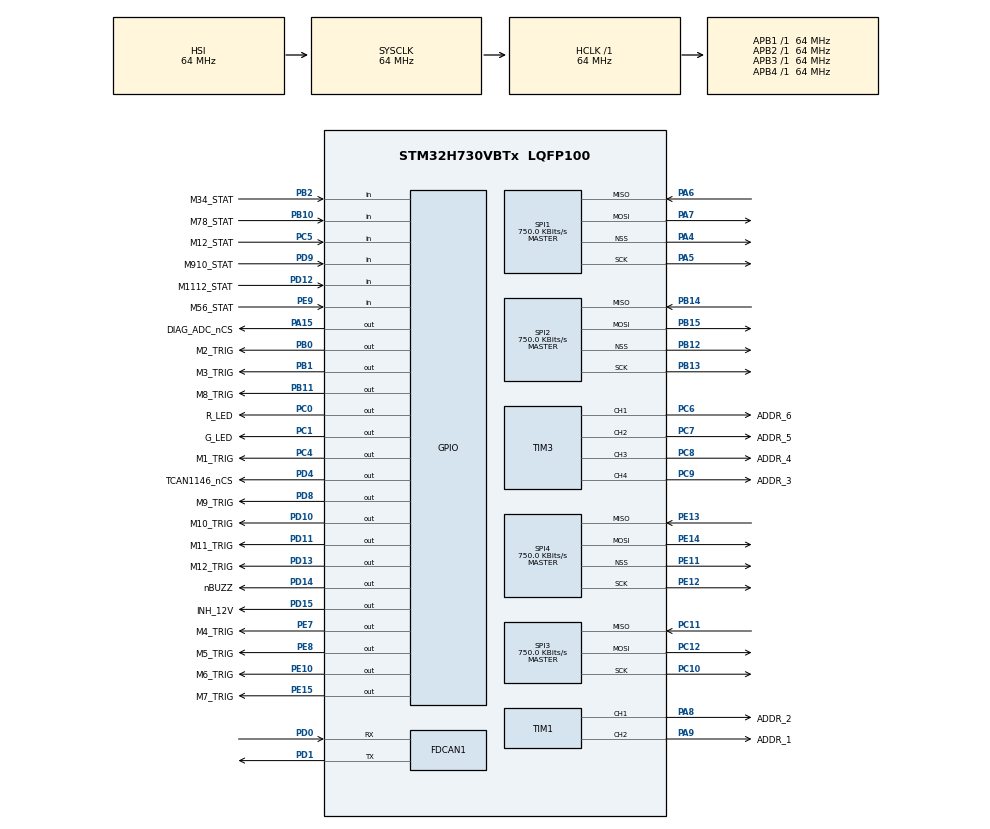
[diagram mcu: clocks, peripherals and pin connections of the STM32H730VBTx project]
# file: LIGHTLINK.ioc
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CORTEX_M7.default_mode_Activation=1
FDCAN1.CalculateBaudRateNominal=18750
FDCAN1.CalculateTimeBitNominal=53333
FDCAN1.CalculateTimeQuantumNominal=10666.666666666666
Mcu.Family=STM32H7
Mcu.Name=STM32H730VBTx
Mcu.Package=LQFP100
NVIC.PriorityGroup=NVIC_PRIORITYGROUP_4
PA13(JTMS/SWDIO).Mode=Serial_Wire
PA13(JTMS/SWDIO).Signal=DEBUG_JTMS-SWDIO
PA14(JTCK/SWCLK).Mode=Serial_Wire
PA14(JTCK/SWCLK).Signal=DEBUG_JTCK-SWCLK
PA15(JTDI).GPIO_Label=DIAG_ADC_nCS
PA15(JTDI).Signal=GPIO_Output
PA4.Mode=NSS_Signal_Hard_Output
PA4.Signal=SPI1_NSS
PA5.Mode=Full_Duplex_Master
PA5.Signal=SPI1_SCK
PA6.Mode=Full_Duplex_Master
PA6.Signal=SPI1_MISO
PA7.Mode=Full_Duplex_Master
PA7.Signal=SPI1_MOSI
PA8.GPIO_Label=ADDR_2
PA8.Signal=S_TIM1_CH1
PA9.GPIO_Label=ADDR_1
PA9.Signal=S_TIM1_CH2
PB0.GPIO_Label=M2_TRIG
PB0.Signal=GPIO_Output
PB1.GPIO_Label=M3_TRIG
PB1.Signal=GPIO_Output
PB10.GPIO_Label=M78_STAT
PB10.Signal=GPIO_Input
PB11.GPIO_Label=M8_TRIG
PB11.Signal=GPIO_Output
PB12.Mode=NSS_Signal_Hard_Output
PB12.Signal=SPI2_NSS
PB13.Mode=Full_Duplex_Master
PB13.Signal=SPI2_SCK
PB14.Mode=Full_Duplex_Master
PB14.Signal=SPI2_MISO
PB15.Mode=Full_Duplex_Master
PB15.Signal=SPI2_MOSI
PB2.GPIO_Label=M34_STAT
PB2.Signal=GPIO_Input
PC0.GPIO_Label=R_LED
PC0.GPIO_ModeDefaultOutputPP=GPIO_MODE_OUTPUT_OD
PC0.GPIO_PuPd=GPIO_NOPULL
PC0.Signal=GPIO_Output
PC1.GPIO_Label=G_LED
PC1.GPIO_ModeDefaultOutputPP=GPIO_MODE_OUTPUT_OD
PC1.GPIO_PuPd=GPIO_NOPULL
PC1.Signal=GPIO_Output
PC10.Mode=Full_Duplex_Master
PC10.Signal=SPI3_SCK
PC11.Mode=Full_Duplex_Master
PC11.Signal=SPI3_MISO
PC12.Mode=Full_Duplex_Master
PC12.Signal=SPI3_MOSI
PC14-OSC32_IN.Mode=LSE-External-Oscillator
PC14-OSC32_IN.Signal=RCC_OSC32_IN
PC15-OSC32_OUT.Mode=LSE-External-Oscillator
PC15-OSC32_OUT.Signal=RCC_OSC32_OUT
PC4.GPIO_Label=M1_TRIG
PC4.Signal=GPIO_Output
PC5.GPIO_Label=M12_STAT
PC5.Signal=GPIO_Input
PC6.GPIO_Label=ADDR_6
PC6.Signal=S_TIM3_CH1
PC7.GPIO_Label=ADDR_5
PC7.Signal=S_TIM3_CH2
PC8.GPIO_Label=ADDR_4
PC8.Signal=S_TIM3_CH3
PC9.GPIO_Label=ADDR_3
PC9.Signal=S_TIM3_CH4
PD0.Mode=FDCAN_Activate
PD0.Signal=FDCAN1_RX
PD1.Mode=FDCAN_Activate
PD1.Signal=FDCAN1_TX
PD10.GPIO_Label=M10_TRIG
PD10.Signal=GPIO_Output
PD11.GPIO_Label=M11_TRIG
PD11.Signal=GPIO_Output
PD12.GPIO_Label=M1112_STAT
PD12.Signal=GPIO_Input
PD13.GPIO_Label=M12_TRIG
PD13.Signal=GPIO_Output
PD14.GPIO_Label=nBUZZ
PD14.Signal=GPIO_Output
PD15.GPIO_Label=INH_12V
PD15.Signal=GPIO_Output
PD4.GPIO_Label=TCAN1146_nCS
PD4.Signal=GPIO_Output
PD8.GPIO_Label=M9_TRIG
PD8.Signal=GPIO_Output
PD9.GPIO_Label=M910_STAT
PD9.Signal=GPIO_Input
PE10.GPIO_Label=M6_TRIG
PE10.Signal=GPIO_Output
PE11.Mode=NSS_Signal_Hard_Output
PE11.Signal=SPI4_NSS
PE12.Mode=Full_Duplex_Master
PE12.Signal=SPI4_SCK
PE13.Mode=Full_Duplex_Master
PE13.Signal=SPI4_MISO
PE14.Mode=Full_Duplex_Master
PE14.Signal=SPI4_MOSI
PE15.GPIO_Label=M7_TRIG
PE15.Signal=GPIO_Output
PE7.GPIO_Label=M4_TRIG
PE7.Signal=GPIO_Output
PE8.GPIO_Label=M5_TRIG
PE8.Signal=GPIO_Output
PE9.GPIO_Label=M56_STAT
PE9.Signal=GPIO_Input
PH0-OSC_IN.Mode=HSE-External-Oscillator
PH0-OSC_IN.Signal=RCC_OSC_IN
PH1-OSC_OUT.Mode=HSE-External-Oscillator
PH1-OSC_OUT.Signal=RCC_OSC_OUT
ProjectManager.HeapSize=0x200
ProjectManager.StackSize=0x400
ProjectManager.TargetToolchain=STM32CubeIDE
RCC.ADCFreq_Value=75000000
RCC.APB1Freq_Value=64000000
RCC.APB2Freq_Value=64000000
RCC.APB3Freq_Value=64000000
RCC.APB4Freq_Value=64000000
RCC.CortexFreq_Value=64000000
RCC.DIVM1=48
RCC.DIVM2=48
RCC.DIVN1=150
RCC.DIVN2=150
RCC.DIVQ1=100
RCC.DIVQ2=100
RCC.HCLKFreq_Value=64000000
RCC.HSE_VALUE=48000000
RCC.PLLSourceVirtual=RCC_PLLSOURCE_HSE
RCC.SYSCLKFreq_VALUE=64000000
RCC.Spi45ClockSelection=RCC_SPI45CLKSOURCE_PLL2
RCC.USBFreq_Value=1500000
SH.S_TIM1_CH1.0=TIM1_CH1,PWM Generation1 CH1
SH.S_TIM1_CH2.0=TIM1_CH2,PWM Generation2 CH2
SH.S_TIM3_CH1.0=TIM3_CH1,PWM Generation1 CH1
SH.S_TIM3_CH2.0=TIM3_CH2,PWM Generation2 CH2
SH.S_TIM3_CH3.0=TIM3_CH3,PWM Generation3 CH3
SH.S_TIM3_CH4.0=TIM3_CH4,PWM Generation4 CH4
SPI1.CalculateBaudRate=750.0 KBits/s
SPI1.Direction=SPI_DIRECTION_2LINES
SPI1.Mode=SPI_MODE_MASTER
SPI1.VirtualNSS=VM_NSSHARD
SPI1.VirtualType=VM_MASTER
SPI2.CalculateBaudRate=750.0 KBits/s
SPI2.Direction=SPI_DIRECTION_2LINES
SPI2.Mode=SPI_MODE_MASTER
SPI2.VirtualNSS=VM_NSSHARD
SPI2.VirtualType=VM_MASTER
SPI3.CalculateBaudRate=750.0 KBits/s
SPI3.Direction=SPI_DIRECTION_2LINES
SPI3.Mode=SPI_MODE_MASTER
SPI3.VirtualType=VM_MASTER
SPI4.CalculateBaudRate=750.0 KBits/s
SPI4.Direction=SPI_DIRECTION_2LINES
SPI4.Mode=SPI_MODE_MASTER
SPI4.VirtualNSS=VM_NSSHARD
SPI4.VirtualType=VM_MASTER
TIM1.Channel-PWM\ Generation1\ CH1=TIM_CHANNEL_1
TIM1.Channel-PWM\ Generation2\ CH2=TIM_CHANNEL_2
TIM3.Channel-PWM\ Generation1\ CH1=TIM_CHANNEL_1
TIM3.Channel-PWM\ Generation2\ CH2=TIM_CHANNEL_2
TIM3.Channel-PWM\ Generation3\ CH3=TIM_CHANNEL_3
TIM3.Channel-PWM\ Generation4\ CH4=TIM_CHANNEL_4
board=custom

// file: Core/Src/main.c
/* USER CODE BEGIN Header */
/**
  ******************************************************************************
  * @file           : main.c
  * @brief          : Main program body
  ******************************************************************************
  * @attention
  *
  * Copyright (c) 2024 STMicroelectronics.
  * All rights reserved.
  *
  * This software is licensed under terms that can be found in the LICENSE file
  * in the root directory of this software component.
  * If no LICENSE file comes with this software, it is provided AS-IS.
  *
  ******************************************************************************
  */
/* USER CODE END Header */
#include "main.h"

FDCAN_HandleTypeDef hfdcan1;

SPI_HandleTypeDef hspi1;
SPI_HandleTypeDef hspi2;
SPI_HandleTypeDef hspi3;
SPI_HandleTypeDef hspi4;

TIM_HandleTypeDef htim1;
TIM_HandleTypeDef htim3;

void SystemClock_Config(void);
static void MPU_Config(void);
static void MX_GPIO_Init(void);
static void MX_FDCAN1_Init(void);
static void MX_SPI1_Init(void);
static void MX_SPI2_Init(void);
static void MX_SPI3_Init(void);
static void MX_SPI4_Init(void);
static void MX_TIM1_Init(void);
static void MX_TIM3_Init(void);

int main(void)
{

  /* MPU Configuration--------------------------------------------------------*/
  MPU_Config();

  /* MCU Configuration--------------------------------------------------------*/

  /* Reset of all peripherals, Initializes the Flash interface and the Systick. */
  HAL_Init();

  /* Configure the system clock */
  SystemClock_Config();

  /* Initialize all configured peripherals */
  MX_GPIO_Init();
  MX_FDCAN1_Init();
  MX_SPI1_Init();
  MX_SPI2_Init();
  MX_SPI3_Init();
  MX_SPI4_Init();
  MX_TIM1_Init();
  MX_TIM3_Init();
  /* USER CODE BEGIN 2 */

  //TURN ON GREEN LED ONCE USER CODE BEGINS
  HAL_GPIO_WritePin (GPIOC, G_LED_Pin, GPIO_PIN_SET);
  HAL_GPIO_WritePin (GPIOC, nBUZZ_Pin, GPIO_PIN_SET);

  /* USER CODE END 2 */

  /* Infinite loop */
  while (1)
  {

    /* USER CODE BEGIN 3 */
	  HAL_GPIO_TogglePin (GPIOC, M1_TRIG_Pin);
	  HAL_GPIO_TogglePin (GPIOB, M2_TRIG_Pin);
	  HAL_GPIO_TogglePin (GPIOB, M3_TRIG_Pin);
	  HAL_GPIO_TogglePin (GPIOE, M4_TRIG_Pin);
	  HAL_GPIO_TogglePin (GPIOE, M5_TRIG_Pin);
	  HAL_GPIO_TogglePin (GPIOE, M6_TRIG_Pin);
	  HAL_GPIO_TogglePin (GPIOE, M7_TRIG_Pin);
	  HAL_GPIO_TogglePin (GPIOB, M8_TRIG_Pin);
	  HAL_GPIO_TogglePin (GPIOD, M9_TRIG_Pin);
	  HAL_GPIO_TogglePin (GPIOD, M10_TRIG_Pin);
	  HAL_GPIO_TogglePin (GPIOD, M11_TRIG_Pin);
	  HAL_GPIO_TogglePin (GPIOD, M12_TRIG_Pin);
	  HAL_Delay (500);   /* Insert delay 100 ms */
  }
  /* USER CODE END 3 */
}

void SystemClock_Config(void)
{
  RCC_OscInitTypeDef RCC_OscInitStruct = {0};
  RCC_ClkInitTypeDef RCC_ClkInitStruct = {0};

  /** Supply configuration update enable
  */
  HAL_PWREx_ConfigSupply(PWR_LDO_SUPPLY);

  /** Configure the main internal regulator output voltage
  */
  __HAL_PWR_VOLTAGESCALING_CONFIG(PWR_REGULATOR_VOLTAGE_SCALE3);

  while(!__HAL_PWR_GET_FLAG(PWR_FLAG_VOSRDY)) {}

  /** Initializes the RCC Oscillators according to the specified parameters
  * in the RCC_OscInitTypeDef structure.
  */
  RCC_OscInitStruct.OscillatorType = RCC_OSCILLATORTYPE_HSI|RCC_OSCILLATORTYPE_HSE;
  RCC_OscInitStruct.HSEState = RCC_HSE_ON;
  RCC_OscInitStruct.HSIState = RCC_HSI_DIV1;
  RCC_OscInitStruct.HSICalibrationValue = 64;
  RCC_OscInitStruct.PLL.PLLState = RCC_PLL_ON;
  RCC_OscInitStruct.PLL.PLLSource = RCC_PLLSOURCE_HSE;
  RCC_OscInitStruct.PLL.PLLM = 48;
  RCC_OscInitStruct.PLL.PLLN = 150;
  RCC_OscInitStruct.PLL.PLLP = 2;
  RCC_OscInitStruct.PLL.PLLQ = 100;
  RCC_OscInitStruct.PLL.PLLR = 2;
  RCC_OscInitStruct.PLL.PLLRGE = RCC_PLL1VCIRANGE_0;
  RCC_OscInitStruct.PLL.PLLVCOSEL = RCC_PLL1VCOMEDIUM;
  RCC_OscInitStruct.PLL.PLLFRACN = 0;
  if (HAL_RCC_OscConfig(&RCC_OscInitStruct) != HAL_OK)
  {
    Error_Handler();
  }

  /** Initializes the CPU, AHB and APB buses clocks
  */
  RCC_ClkInitStruct.ClockType = RCC_CLOCKTYPE_HCLK|RCC_CLOCKTYPE_SYSCLK
                              |RCC_CLOCKTYPE_PCLK1|RCC_CLOCKTYPE_PCLK2
                              |RCC_CLOCKTYPE_D3PCLK1|RCC_CLOCKTYPE_D1PCLK1;
  RCC_ClkInitStruct.SYSCLKSource = RCC_SYSCLKSOURCE_HSI;
  RCC_ClkInitStruct.SYSCLKDivider = RCC_SYSCLK_DIV1;
  RCC_ClkInitStruct.AHBCLKDivider = RCC_HCLK_DIV1;
  RCC_ClkInitStruct.APB3CLKDivider = RCC_APB3_DIV1;
  RCC_ClkInitStruct.APB1CLKDivider = RCC_APB1_DIV1;
  RCC_ClkInitStruct.APB2CLKDivider = RCC_APB2_DIV1;
  RCC_ClkInitStruct.APB4CLKDivider = RCC_APB4_DIV1;

  if (HAL_RCC_ClockConfig(&RCC_ClkInitStruct, FLASH_LATENCY_1) != HAL_OK)
  {
    Error_Handler();
  }
}

static void MX_FDCAN1_Init(void)
{

  hfdcan1.Instance = FDCAN1;
  hfdcan1.Init.FrameFormat = FDCAN_FRAME_CLASSIC;
  hfdcan1.Init.Mode = FDCAN_MODE_NORMAL;
  hfdcan1.Init.AutoRetransmission = DISABLE;
  hfdcan1.Init.TransmitPause = DISABLE;
  hfdcan1.Init.ProtocolException = DISABLE;
  hfdcan1.Init.NominalPrescaler = 16;
  hfdcan1.Init.NominalSyncJumpWidth = 1;
  hfdcan1.Init.NominalTimeSeg1 = 2;
  hfdcan1.Init.NominalTimeSeg2 = 2;
  hfdcan1.Init.DataPrescaler = 1;
  hfdcan1.Init.DataSyncJumpWidth = 1;
  hfdcan1.Init.DataTimeSeg1 = 1;
  hfdcan1.Init.DataTimeSeg2 = 1;
  hfdcan1.Init.MessageRAMOffset = 0;
  hfdcan1.Init.StdFiltersNbr = 0;
  hfdcan1.Init.ExtFiltersNbr = 0;
  hfdcan1.Init.RxFifo0ElmtsNbr = 0;
  hfdcan1.Init.RxFifo0ElmtSize = FDCAN_DATA_BYTES_8;
  hfdcan1.Init.RxFifo1ElmtsNbr = 0;
  hfdcan1.Init.RxFifo1ElmtSize = FDCAN_DATA_BYTES_8;
  hfdcan1.Init.RxBuffersNbr = 0;
  hfdcan1.Init.RxBufferSize = FDCAN_DATA_BYTES_8;
  hfdcan1.Init.TxEventsNbr = 0;
  hfdcan1.Init.TxBuffersNbr = 0;
  hfdcan1.Init.TxFifoQueueElmtsNbr = 0;
  hfdcan1.Init.TxFifoQueueMode = FDCAN_TX_FIFO_OPERATION;
  hfdcan1.Init.TxElmtSize = FDCAN_DATA_BYTES_8;
  if (HAL_FDCAN_Init(&hfdcan1) != HAL_OK)
  {
    Error_Handler();
  }

}

static void MX_SPI1_Init(void)
{

  /* SPI1 parameter configuration*/
  hspi1.Instance = SPI1;
  hspi1.Init.Mode = SPI_MODE_MASTER;
  hspi1.Init.Direction = SPI_DIRECTION_2LINES;
  hspi1.Init.DataSize = SPI_DATASIZE_4BIT;
  hspi1.Init.CLKPolarity = SPI_POLARITY_LOW;
  hspi1.Init.CLKPhase = SPI_PHASE_1EDGE;
  hspi1.Init.NSS = SPI_NSS_HARD_OUTPUT;
  hspi1.Init.BaudRatePrescaler = SPI_BAUDRATEPRESCALER_2;
  hspi1.Init.FirstBit = SPI_FIRSTBIT_MSB;
  hspi1.Init.TIMode = SPI_TIMODE_DISABLE;
  hspi1.Init.CRCCalculation = SPI_CRCCALCULATION_DISABLE;
  hspi1.Init.CRCPolynomial = 0x0;
  hspi1.Init.NSSPMode = SPI_NSS_PULSE_ENABLE;
  hspi1.Init.NSSPolarity = SPI_NSS_POLARITY_LOW;
  hspi1.Init.FifoThreshold = SPI_FIFO_THRESHOLD_01DATA;
  hspi1.Init.TxCRCInitializationPattern = SPI_CRC_INITIALIZATION_ALL_ZERO_PATTERN;
  hspi1.Init.RxCRCInitializationPattern = SPI_CRC_INITIALIZATION_ALL_ZERO_PATTERN;
  hspi1.Init.MasterSSIdleness = SPI_MASTER_SS_IDLENESS_00CYCLE;
  hspi1.Init.MasterInterDataIdleness = SPI_MASTER_INTERDATA_IDLENESS_00CYCLE;
  hspi1.Init.MasterReceiverAutoSusp = SPI_MASTER_RX_AUTOSUSP_DISABLE;
  hspi1.Init.MasterKeepIOState = SPI_MASTER_KEEP_IO_STATE_DISABLE;
  hspi1.Init.IOSwap = SPI_IO_SWAP_DISABLE;
  if (HAL_SPI_Init(&hspi1) != HAL_OK)
  {
    Error_Handler();
  }

}

static void MX_SPI2_Init(void)
{

  /* SPI2 parameter configuration*/
  hspi2.Instance = SPI2;
  hspi2.Init.Mode = SPI_MODE_MASTER;
  hspi2.Init.Direction = SPI_DIRECTION_2LINES;
  hspi2.Init.DataSize = SPI_DATASIZE_4BIT;
  hspi2.Init.CLKPolarity = SPI_POLARITY_LOW;
  hspi2.Init.CLKPhase = SPI_PHASE_1EDGE;
  hspi2.Init.NSS = SPI_NSS_HARD_OUTPUT;
  hspi2.Init.BaudRatePrescaler = SPI_BAUDRATEPRESCALER_2;
  hspi2.Init.FirstBit = SPI_FIRSTBIT_MSB;
  hspi2.Init.TIMode = SPI_TIMODE_DISABLE;
  hspi2.Init.CRCCalculation = SPI_CRCCALCULATION_DISABLE;
  hspi2.Init.CRCPolynomial = 0x0;
  hspi2.Init.NSSPMode = SPI_NSS_PULSE_ENABLE;
  hspi2.Init.NSSPolarity = SPI_NSS_POLARITY_LOW;
  hspi2.Init.FifoThreshold = SPI_FIFO_THRESHOLD_01DATA;
  hspi2.Init.TxCRCInitializationPattern = SPI_CRC_INITIALIZATION_ALL_ZERO_PATTERN;
  hspi2.Init.RxCRCInitializationPattern = SPI_CRC_INITIALIZATION_ALL_ZERO_PATTERN;
  hspi2.Init.MasterSSIdleness = SPI_MASTER_SS_IDLENESS_00CYCLE;
  hspi2.Init.MasterInterDataIdleness = SPI_MASTER_INTERDATA_IDLENESS_00CYCLE;
  hspi2.Init.MasterReceiverAutoSusp = SPI_MASTER_RX_AUTOSUSP_DISABLE;
  hspi2.Init.MasterKeepIOState = SPI_MASTER_KEEP_IO_STATE_DISABLE;
  hspi2.Init.IOSwap = SPI_IO_SWAP_DISABLE;
  if (HAL_SPI_Init(&hspi2) != HAL_OK)
  {
    Error_Handler();
  }

}

static void MX_SPI3_Init(void)
{

  /* SPI3 parameter configuration*/
  hspi3.Instance = SPI3;
  hspi3.Init.Mode = SPI_MODE_MASTER;
  hspi3.Init.Direction = SPI_DIRECTION_2LINES;
  hspi3.Init.DataSize = SPI_DATASIZE_4BIT;
  hspi3.Init.CLKPolarity = SPI_POLARITY_LOW;
  hspi3.Init.CLKPhase = SPI_PHASE_1EDGE;
  hspi3.Init.NSS = SPI_NSS_SOFT;
  hspi3.Init.BaudRatePrescaler = SPI_BAUDRATEPRESCALER_2;
  hspi3.Init.FirstBit = SPI_FIRSTBIT_MSB;
  hspi3.Init.TIMode = SPI_TIMODE_DISABLE;
  hspi3.Init.CRCCalculation = SPI_CRCCALCULATION_DISABLE;
  hspi3.Init.CRCPolynomial = 0x0;
  hspi3.Init.NSSPMode = SPI_NSS_PULSE_ENABLE;
  hspi3.Init.NSSPolarity = SPI_NSS_POLARITY_LOW;
  hspi3.Init.FifoThreshold = SPI_FIFO_THRESHOLD_01DATA;
  hspi3.Init.TxCRCInitializationPattern = SPI_CRC_INITIALIZATION_ALL_ZERO_PATTERN;
  hspi3.Init.RxCRCInitializationPattern = SPI_CRC_INITIALIZATION_ALL_ZERO_PATTERN;
  hspi3.Init.MasterSSIdleness = SPI_MASTER_SS_IDLENESS_00CYCLE;
  hspi3.Init.MasterInterDataIdleness = SPI_MASTER_INTERDATA_IDLENESS_00CYCLE;
  hspi3.Init.MasterReceiverAutoSusp = SPI_MASTER_RX_AUTOSUSP_DISABLE;
  hspi3.Init.MasterKeepIOState = SPI_MASTER_KEEP_IO_STATE_DISABLE;
  hspi3.Init.IOSwap = SPI_IO_SWAP_DISABLE;
  if (HAL_SPI_Init(&hspi3) != HAL_OK)
  {
    Error_Handler();
  }

}

static void MX_SPI4_Init(void)
{

  /* SPI4 parameter configuration*/
  hspi4.Instance = SPI4;
  hspi4.Init.Mode = SPI_MODE_MASTER;
  hspi4.Init.Direction = SPI_DIRECTION_2LINES;
  hspi4.Init.DataSize = SPI_DATASIZE_4BIT;
  hspi4.Init.CLKPolarity = SPI_POLARITY_LOW;
  hspi4.Init.CLKPhase = SPI_PHASE_1EDGE;
  hspi4.Init.NSS = SPI_NSS_HARD_OUTPUT;
  hspi4.Init.BaudRatePrescaler = SPI_BAUDRATEPRESCALER_2;
  hspi4.Init.FirstBit = SPI_FIRSTBIT_MSB;
  hspi4.Init.TIMode = SPI_TIMODE_DISABLE;
  hspi4.Init.CRCCalculation = SPI_CRCCALCULATION_DISABLE;
  hspi4.Init.CRCPolynomial = 0x0;
  hspi4.Init.NSSPMode = SPI_NSS_PULSE_ENABLE;
  hspi4.Init.NSSPolarity = SPI_NSS_POLARITY_LOW;
  hspi4.Init.FifoThreshold = SPI_FIFO_THRESHOLD_01DATA;
  hspi4.Init.TxCRCInitializationPattern = SPI_CRC_INITIALIZATION_ALL_ZERO_PATTERN;
  hspi4.Init.RxCRCInitializationPattern = SPI_CRC_INITIALIZATION_ALL_ZERO_PATTERN;
  hspi4.Init.MasterSSIdleness = SPI_MASTER_SS_IDLENESS_00CYCLE;
  hspi4.Init.MasterInterDataIdleness = SPI_MASTER_INTERDATA_IDLENESS_00CYCLE;
  hspi4.Init.MasterReceiverAutoSusp = SPI_MASTER_RX_AUTOSUSP_DISABLE;
  hspi4.Init.MasterKeepIOState = SPI_MASTER_KEEP_IO_STATE_DISABLE;
  hspi4.Init.IOSwap = SPI_IO_SWAP_DISABLE;
  if (HAL_SPI_Init(&hspi4) != HAL_OK)
  {
    Error_Handler();
  }

}

static void MX_TIM1_Init(void)
{

  TIM_MasterConfigTypeDef sMasterConfig = {0};
  TIM_OC_InitTypeDef sConfigOC = {0};
  TIM_BreakDeadTimeConfigTypeDef sBreakDeadTimeConfig = {0};

  htim1.Instance = TIM1;
  htim1.Init.Prescaler = 0;
  htim1.Init.CounterMode = TIM_COUNTERMODE_UP;
  htim1.Init.Period = 65535;
  htim1.Init.ClockDivision = TIM_CLOCKDIVISION_DIV1;
  htim1.Init.RepetitionCounter = 0;
  htim1.Init.AutoReloadPreload = TIM_AUTORELOAD_PRELOAD_DISABLE;
  if (HAL_TIM_PWM_Init(&htim1) != HAL_OK)
  {
    Error_Handler();
  }
  sMasterConfig.MasterOutputTrigger = TIM_TRGO_RESET;
  sMasterConfig.MasterOutputTrigger2 = TIM_TRGO2_RESET;
  sMasterConfig.MasterSlaveMode = TIM_MASTERSLAVEMODE_DISABLE;
  if (HAL_TIMEx_MasterConfigSynchronization(&htim1, &sMasterConfig) != HAL_OK)
  {
    Error_Handler();
  }
  sConfigOC.OCMode = TIM_OCMODE_PWM1;
  sConfigOC.Pulse = 0;
  sConfigOC.OCPolarity = TIM_OCPOLARITY_HIGH;
  sConfigOC.OCNPolarity = TIM_OCNPOLARITY_HIGH;
  sConfigOC.OCFastMode = TIM_OCFAST_DISABLE;
  sConfigOC.OCIdleState = TIM_OCIDLESTATE_RESET;
  sConfigOC.OCNIdleState = TIM_OCNIDLESTATE_RESET;
  if (HAL_TIM_PWM_ConfigChannel(&htim1, &sConfigOC, TIM_CHANNEL_1) != HAL_OK)
  {
    Error_Handler();
  }
  if (HAL_TIM_PWM_ConfigChannel(&htim1, &sConfigOC, TIM_CHANNEL_2) != HAL_OK)
  {
    Error_Handler();
  }
  sBreakDeadTimeConfig.OffStateRunMode = TIM_OSSR_DISABLE;
  sBreakDeadTimeConfig.OffStateIDLEMode = TIM_OSSI_DISABLE;
  sBreakDeadTimeConfig.LockLevel = TIM_LOCKLEVEL_OFF;
  sBreakDeadTimeConfig.DeadTime = 0;
  sBreakDeadTimeConfig.BreakState = TIM_BREAK_DISABLE;
  sBreakDeadTimeConfig.BreakPolarity = TIM_BREAKPOLARITY_HIGH;
  sBreakDeadTimeConfig.BreakFilter = 0;
  sBreakDeadTimeConfig.Break2State = TIM_BREAK2_DISABLE;
  sBreakDeadTimeConfig.Break2Polarity = TIM_BREAK2POLARITY_HIGH;
  sBreakDeadTimeConfig.Break2Filter = 0;
  sBreakDeadTimeConfig.AutomaticOutput = TIM_AUTOMATICOUTPUT_DISABLE;
  if (HAL_TIMEx_ConfigBreakDeadTime(&htim1, &sBreakDeadTimeConfig) != HAL_OK)
  {
    Error_Handler();
  }
  HAL_TIM_MspPostInit(&htim1);

}

static void MX_TIM3_Init(void)
{

  TIM_MasterConfigTypeDef sMasterConfig = {0};
  TIM_OC_InitTypeDef sConfigOC = {0};

  htim3.Instance = TIM3;
  htim3.Init.Prescaler = 0;
  htim3.Init.CounterMode = TIM_COUNTERMODE_UP;
  htim3.Init.Period = 65535;
  htim3.Init.ClockDivision = TIM_CLOCKDIVISION_DIV1;
  htim3.Init.AutoReloadPreload = TIM_AUTORELOAD_PRELOAD_DISABLE;
  if (HAL_TIM_PWM_Init(&htim3) != HAL_OK)
  {
    Error_Handler();
  }
  sMasterConfig.MasterOutputTrigger = TIM_TRGO_RESET;
  sMasterConfig.MasterSlaveMode = TIM_MASTERSLAVEMODE_DISABLE;
  if (HAL_TIMEx_MasterConfigSynchronization(&htim3, &sMasterConfig) != HAL_OK)
  {
    Error_Handler();
  }
  sConfigOC.OCMode = TIM_OCMODE_PWM1;
  sConfigOC.Pulse = 0;
  sConfigOC.OCPolarity = TIM_OCPOLARITY_HIGH;
  sConfigOC.OCFastMode = TIM_OCFAST_DISABLE;
  if (HAL_TIM_PWM_ConfigChannel(&htim3, &sConfigOC, TIM_CHANNEL_1) != HAL_OK)
  {
    Error_Handler();
  }
  if (HAL_TIM_PWM_ConfigChannel(&htim3, &sConfigOC, TIM_CHANNEL_2) != HAL_OK)
  {
    Error_Handler();
  }
  if (HAL_TIM_PWM_ConfigChannel(&htim3, &sConfigOC, TIM_CHANNEL_3) != HAL_OK)
  {
    Error_Handler();
  }
  if (HAL_TIM_PWM_ConfigChannel(&htim3, &sConfigOC, TIM_CHANNEL_4) != HAL_OK)
  {
    Error_Handler();
  }
  HAL_TIM_MspPostInit(&htim3);

}

static void MX_GPIO_Init(void)
{
  GPIO_InitTypeDef GPIO_InitStruct = {0};

  /* GPIO Ports Clock Enable */
  __HAL_RCC_GPIOC_CLK_ENABLE();
  __HAL_RCC_GPIOH_CLK_ENABLE();
  __HAL_RCC_GPIOA_CLK_ENABLE();
  __HAL_RCC_GPIOB_CLK_ENABLE();
  __HAL_RCC_GPIOE_CLK_ENABLE();
  __HAL_RCC_GPIOD_CLK_ENABLE();

  /*Configure GPIO pin Output Level */
  HAL_GPIO_WritePin(GPIOC, R_LED_Pin|G_LED_Pin|M1_TRIG_Pin, GPIO_PIN_RESET);

  /*Configure GPIO pin Output Level */
  HAL_GPIO_WritePin(GPIOB, M2_TRIG_Pin|M3_TRIG_Pin|M8_TRIG_Pin, GPIO_PIN_RESET);

  /*Configure GPIO pin Output Level */
  HAL_GPIO_WritePin(GPIOE, M4_TRIG_Pin|M5_TRIG_Pin|M6_TRIG_Pin|M7_TRIG_Pin, GPIO_PIN_RESET);

  /*Configure GPIO pin Output Level */
  HAL_GPIO_WritePin(GPIOD, M9_TRIG_Pin|M10_TRIG_Pin|M11_TRIG_Pin|M12_TRIG_Pin
                          |nBUZZ_Pin|INH_12V_Pin|TCAN1146_nCS_Pin, GPIO_PIN_RESET);

  /*Configure GPIO pin Output Level */
  HAL_GPIO_WritePin(DIAG_ADC_nCS_GPIO_Port, DIAG_ADC_nCS_Pin, GPIO_PIN_RESET);

  /*Configure GPIO pins : R_LED_Pin G_LED_Pin */
  GPIO_InitStruct.Pin = R_LED_Pin|G_LED_Pin;
  GPIO_InitStruct.Mode = GPIO_MODE_OUTPUT_OD;
  GPIO_InitStruct.Pull = GPIO_NOPULL;
  GPIO_InitStruct.Speed = GPIO_SPEED_FREQ_LOW;
  HAL_GPIO_Init(GPIOC, &GPIO_InitStruct);

  /*Configure GPIO pin : M1_TRIG_Pin */
  GPIO_InitStruct.Pin = M1_TRIG_Pin;
  GPIO_InitStruct.Mode = GPIO_MODE_OUTPUT_PP;
  GPIO_InitStruct.Pull = GPIO_NOPULL;
  GPIO_InitStruct.Speed = GPIO_SPEED_FREQ_LOW;
  HAL_GPIO_Init(M1_TRIG_GPIO_Port, &GPIO_InitStruct);

  /*Configure GPIO pin : M12_STAT_Pin */
  GPIO_InitStruct.Pin = M12_STAT_Pin;
  GPIO_InitStruct.Mode = GPIO_MODE_INPUT;
  GPIO_InitStruct.Pull = GPIO_NOPULL;
  HAL_GPIO_Init(M12_STAT_GPIO_Port, &GPIO_InitStruct);

  /*Configure GPIO pins : M2_TRIG_Pin M3_TRIG_Pin M8_TRIG_Pin */
  GPIO_InitStruct.Pin = M2_TRIG_Pin|M3_TRIG_Pin|M8_TRIG_Pin;
  GPIO_InitStruct.Mode = GPIO_MODE_OUTPUT_PP;
  GPIO_InitStruct.Pull = GPIO_NOPULL;
  GPIO_InitStruct.Speed = GPIO_SPEED_FREQ_LOW;
  HAL_GPIO_Init(GPIOB, &GPIO_InitStruct);

  /*Configure GPIO pins : M34_STAT_Pin M78_STAT_Pin */
  GPIO_InitStruct.Pin = M34_STAT_Pin|M78_STAT_Pin;
  GPIO_InitStruct.Mode = GPIO_MODE_INPUT;
  GPIO_InitStruct.Pull = GPIO_NOPULL;
  HAL_GPIO_Init(GPIOB, &GPIO_InitStruct);

  /*Configure GPIO pins : M4_TRIG_Pin M5_TRIG_Pin M6_TRIG_Pin M7_TRIG_Pin */
  GPIO_InitStruct.Pin = M4_TRIG_Pin|M5_TRIG_Pin|M6_TRIG_Pin|M7_TRIG_Pin;
  GPIO_InitStruct.Mode = GPIO_MODE_OUTPUT_PP;
  GPIO_InitStruct.Pull = GPIO_NOPULL;
  GPIO_InitStruct.Speed = GPIO_SPEED_FREQ_LOW;
  HAL_GPIO_Init(GPIOE, &GPIO_InitStruct);

  /*Configure GPIO pin : M56_STAT_Pin */
  GPIO_InitStruct.Pin = M56_STAT_Pin;
  GPIO_InitStruct.Mode = GPIO_MODE_INPUT;
  GPIO_InitStruct.Pull = GPIO_NOPULL;
  HAL_GPIO_Init(M56_STAT_GPIO_Port, &GPIO_InitStruct);

  /*Configure GPIO pins : M9_TRIG_Pin M10_TRIG_Pin M11_TRIG_Pin M12_TRIG_Pin
                           nBUZZ_Pin INH_12V_Pin TCAN1146_nCS_Pin */
  GPIO_InitStruct.Pin = M9_TRIG_Pin|M10_TRIG_Pin|M11_TRIG_Pin|M12_TRIG_Pin
                          |nBUZZ_Pin|INH_12V_Pin|TCAN1146_nCS_Pin;
  GPIO_InitStruct.Mode = GPIO_MODE_OUTPUT_PP;
  GPIO_InitStruct.Pull = GPIO_NOPULL;
  GPIO_InitStruct.Speed = GPIO_SPEED_FREQ_LOW;
  HAL_GPIO_Init(GPIOD, &GPIO_InitStruct);

  /*Configure GPIO pins : M910_STAT_Pin M1112_STAT_Pin */
  GPIO_InitStruct.Pin = M910_STAT_Pin|M1112_STAT_Pin;
  GPIO_InitStruct.Mode = GPIO_MODE_INPUT;
  GPIO_InitStruct.Pull = GPIO_NOPULL;
  HAL_GPIO_Init(GPIOD, &GPIO_InitStruct);

  /*Configure GPIO pin : DIAG_ADC_nCS_Pin */
  GPIO_InitStruct.Pin = DIAG_ADC_nCS_Pin;
  GPIO_InitStruct.Mode = GPIO_MODE_OUTPUT_PP;
  GPIO_InitStruct.Pull = GPIO_NOPULL;
  GPIO_InitStruct.Speed = GPIO_SPEED_FREQ_LOW;
  HAL_GPIO_Init(DIAG_ADC_nCS_GPIO_Port, &GPIO_InitStruct);

}

 /* MPU Configuration */

void MPU_Config(void)
{
  MPU_Region_InitTypeDef MPU_InitStruct = {0};

  /* Disables the MPU */
  HAL_MPU_Disable();

  /** Initializes and configures the Region and the memory to be protected
  */
  MPU_InitStruct.Enable = MPU_REGION_ENABLE;
  MPU_InitStruct.Number = MPU_REGION_NUMBER0;
  MPU_InitStruct.BaseAddress = 0x0;
  MPU_InitStruct.Size = MPU_REGION_SIZE_4GB;
  MPU_InitStruct.SubRegionDisable = 0x87;
  MPU_InitStruct.TypeExtField = MPU_TEX_LEVEL0;
  MPU_InitStruct.AccessPermission = MPU_REGION_NO_ACCESS;
  MPU_InitStruct.DisableExec = MPU_INSTRUCTION_ACCESS_DISABLE;
  MPU_InitStruct.IsShareable = MPU_ACCESS_SHAREABLE;
  MPU_InitStruct.IsCacheable = MPU_ACCESS_NOT_CACHEABLE;
  MPU_InitStruct.IsBufferable = MPU_ACCESS_NOT_BUFFERABLE;

  HAL_MPU_ConfigRegion(&MPU_InitStruct);
  /* Enables the MPU */
  HAL_MPU_Enable(MPU_PRIVILEGED_DEFAULT);

}

void Error_Handler(void)
{
  __disable_irq();
  while (1)
  {
  }
}
